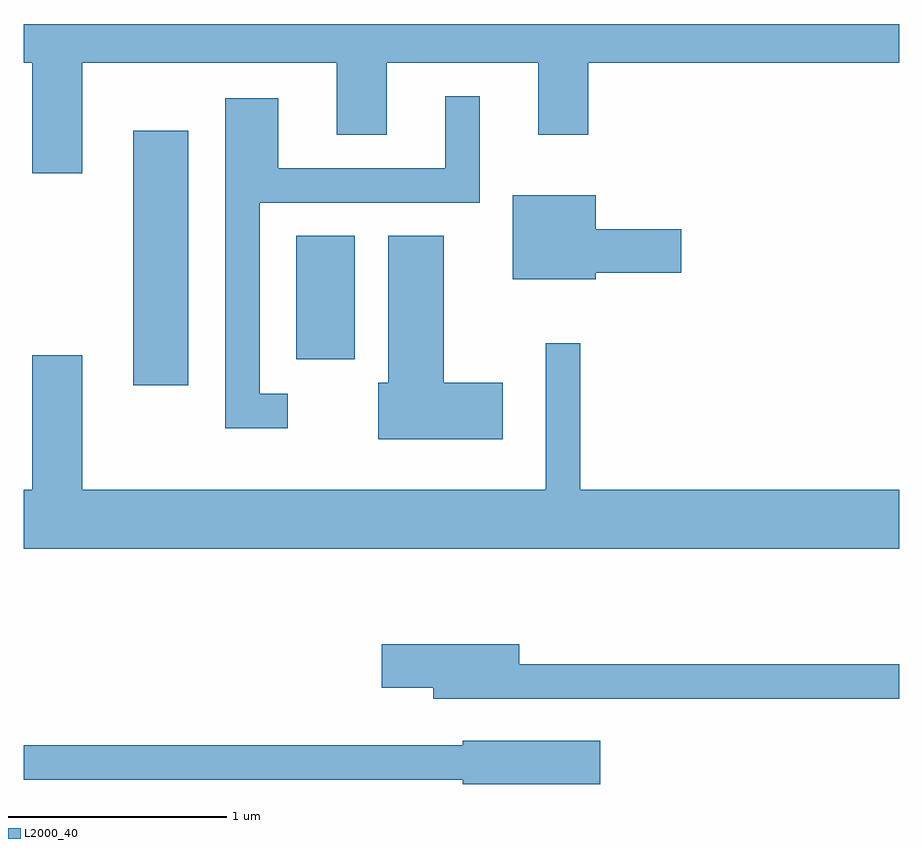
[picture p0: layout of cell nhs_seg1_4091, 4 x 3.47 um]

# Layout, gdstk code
import gdstk
lib = gdstk.Library(unit=1e-6, precision=1e-09)
def R(c, l, rs):  # rectangles x0, y0, x1, y1
    for r in rs: c.add(gdstk.rectangle(r[:2], r[2:], *l))
def P(c, l, *ps):  # polygons
    for p in ps: c.add(gdstk.Polygon(p, *l))
L2000_40 = (2000, 40)

nhs_seg1_4091 = lib.new_cell('nhs_seg1_4091')
R(nhs_seg1_4091, L2000_40, [(308.111,938.061,308.364,939.224), (308.856,938.181,309.124,938.744)])
P(nhs_seg1_4091, L2000_40, [(307.879,939.536),(309.041,939.536),(309.041,939.206),(309.269,939.206),(309.269,939.536),(309.961,939.536),(309.961,939.206),(310.189,939.206),(310.189,939.536),(311.611,939.536),(311.611,939.712),(307.611,939.712),(307.611,939.536),(307.651,939.536),(307.651,939.031),(307.879,939.031)],
  [(308.818,938.024),(308.689,938.024),(308.689,938.896),(309.694,938.896),(309.694,939.383),(309.536,939.383),(309.536,939.054),(308.774,939.054),(308.774,939.374),(308.531,939.374),(308.531,937.866),(308.818,937.866)],
  [(310.224,938.576),(310.614,938.576),(310.614,938.774),(310.224,938.774),(310.224,938.929),(309.846,938.929),(309.846,938.546),(310.224,938.546)],
  [(309.799,938.074),(309.529,938.074),(309.529,938.744),(309.276,938.744),(309.276,938.074),(309.231,938.074),(309.231,937.816),(309.799,937.816)],
  [(311.611,937.584),(310.154,937.584),(310.154,938.253),(309.996,938.253),(309.996,937.584),(307.879,937.584),(307.879,938.199),(307.651,938.199),(307.651,937.584),(307.611,937.584),(307.611,937.316),(311.611,937.316)],
  [(311.611,936.789),(309.874,936.789),(309.874,936.879),(309.246,936.879),(309.246,936.681),(309.481,936.681),(309.481,936.631),(311.611,936.631)],
  [(310.244,936.439),(309.616,936.439),(309.616,936.419),(307.611,936.419),(307.611,936.261),(309.616,936.261),(309.616,936.241),(310.244,936.241)])

lib.write_gds('nhs_seg1_4091.gds')
